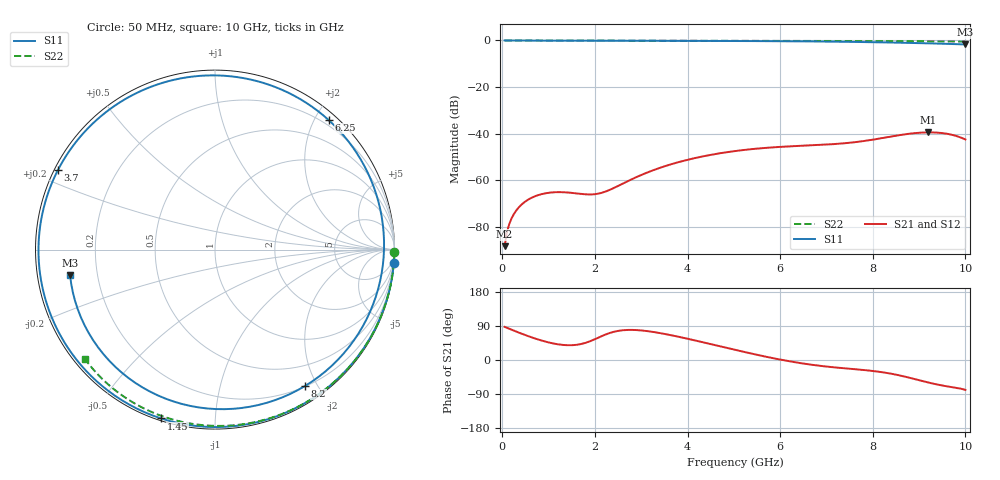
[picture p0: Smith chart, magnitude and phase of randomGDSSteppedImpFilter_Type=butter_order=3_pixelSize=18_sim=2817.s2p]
! freq	dB(S11)	phase(S11)	dB(S12)	phase(S12)
!  dB(S21)	phase(S21)	dB(S22)	phase(S22)
!S-par simulation data
#  GHz  S  DB  R 50
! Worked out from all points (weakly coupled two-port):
!   200 points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, 50 MHz to 10 GHz, reference 50 ohm
!   highest |S21| = -39.46 dB at 9.2 GHz (marker M1); lowest = -88.3 dB at 50 MHz (marker M2)
!   lowest |S11| = -1.7 dB at 10 GHz (marker M3), VSWR 10.10, Z = 4.99 - j4.32 ohm
!   |S11| at or under -10 dB: nowhere
!   |S22| runs from -0.5 to 0.0 dB; largest |S21 - S12| = 0
!   S11 on the Smith chart (normalised r, x): 50 MHz: 0, -26; 1.45 GHz: 0.01, -0.73; 3.7 GHz: 0.01, +0.24; 6.25 GHz: 0.12, +2.20; 8.2 GHz: 0.21, -1.84; 10 GHz: 0.10, -0.09
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0.05  -0.00 -4.3  -88.30 87.5  -88.30 87.5  -0.00 -0.8
0.15  -0.02 -12.9  -78.82 82.4  -78.82 82.4  -0.00 -2.4
0.4  -0.05 -33.8  -70.74 70.2  -70.74 70.2  -0.01 -6.5
0.75  -0.08 -61.2  -66.55 55.0  -66.55 55.0  -0.02 -12.1
1.1  -0.09 -85.9  -65.18 43.7  -65.18 43.7  -0.02 -17.7
1.45  -0.11 -107.7  -65.33 38.9  -65.33 38.9  -0.03 -23.2
1.75  -0.12 -124.3  -65.97 43.6  -65.97 43.6  -0.04 -27.9
2.55  -0.13 -161.7  -61.96 77.8  -61.96 77.8  -0.05 -40.3
3.4  -0.16 164.4  -54.70 71.2  -54.70 71.2  -0.07 -53.1
3.7  -0.17 153.1  -52.82 64.1  -52.82 64.1  -0.08 -57.5
4.4  -0.20 126.7  -49.49 44.9  -49.49 44.9  -0.10 -67.6
5.05  -0.24 101.3  -47.41 26.2  -47.41 26.2  -0.12 -76.8
5.65  -0.29 76.1  -46.17 9.8  -46.17 9.8  -0.14 -85.0
6.25  -0.35 48.7  -45.41 -4.4  -45.41 -4.4  -0.17 -93.0
6.7  -0.42 26.6  -44.99 -12.8  -44.99 -12.8  -0.19 -98.8
7.45  -0.58 -13.4  -44.01 -22.5  -44.01 -22.5  -0.24 -108.4
8.2  -0.81 -56.6  -41.92 -32.2  -41.92 -32.2  -0.29 -117.8
8.35  -0.87 -65.5  -41.40 -35.1  -41.40 -35.1  -0.31 -119.7
8.8  -1.05 -92.8  -40.01 -47.0  -40.01 -47.0  -0.35 -125.2
9.2  -1.23 -117.7  -39.46 -59.4  -39.46 -59.4  -0.38 -130.1
9.6  -1.45 -143.4  -40.04 -69.4  -40.04 -69.4  -0.43 -135.0
10  -1.72 -170.0  -42.49 -78.9  -42.49 -78.9  -0.47 -139.9
